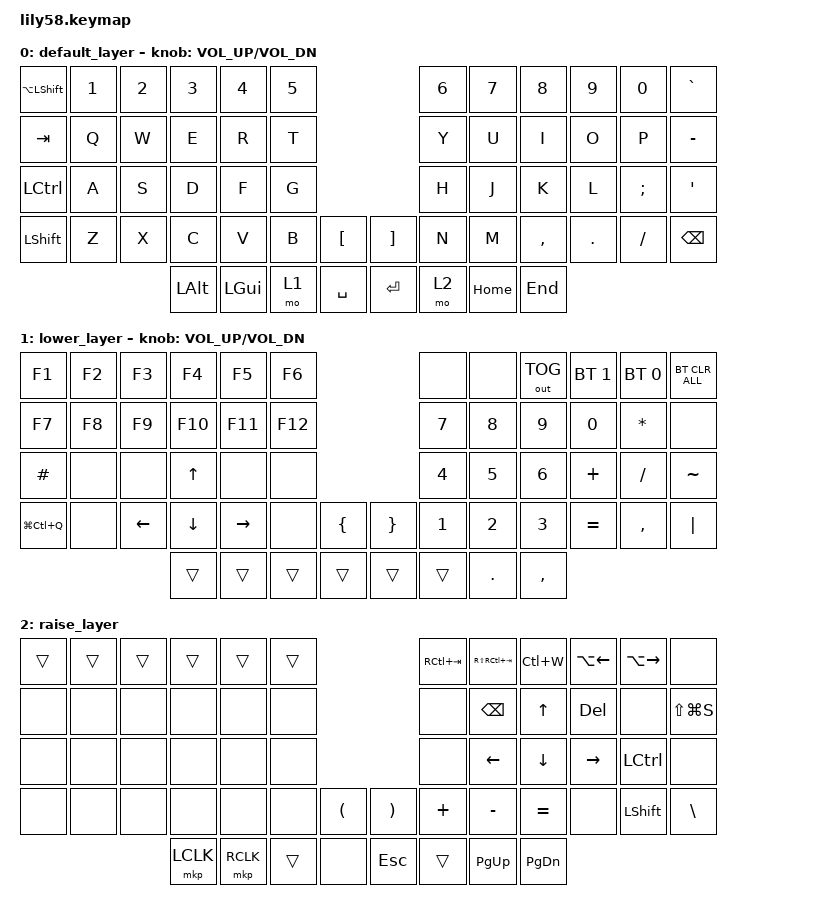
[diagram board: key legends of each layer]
/*
 * Copyright (c) 2020 The ZMK Contributors
 *
 * SPDX-License-Identifier: MIT
 */

#include <dt-bindings/zmk/mouse.h>
#include <behaviors.dtsi>
#include <dt-bindings/zmk/bt.h>
#include <dt-bindings/zmk/keys.h>
#include <dt-bindings/zmk/outputs.h>
#include <dt-bindings/zmk/pointing.h>

/ {
    combos { compatible = "zmk,combos"; };

    behaviors {
        ss_hs_modmorph: ss_hs_modmorph {
            compatible = "zmk,behavior-mod-morph";
            label = "SS_HS_MODMORPH";
            bindings = <&kp M>, <&kp RIGHT_BRACKET>;

            #binding-cells = <0>;
            mods = <(MOD_LSFT|MOD_RSFT)>;
        };

        kh_hs_tapdance: kh_hs_tapdance {
            compatible = "zmk,behavior-tap-dance";
            label = "KH_HS_TAPDANCE";
            #binding-cells = <0>;
            tapping-term-ms = <200>;
            bindings = <&kp LEFT_BRACKET>, <&kp RIGHT_BRACKET>;
        };

        hrm: hrm {
            compatible = "zmk,behavior-hold-tap";
            #binding-cells = <2>;
            flavor = "tap-preferred";
            tapping-term-ms = <200>;
            quick-tap-ms = <200>;
            require-prior-idle-ms = <125>;
            bindings = <&kp>, <&kp>;
        };
    };

    keymap {
        compatible = "zmk,keymap";

        default_layer {
            // ------------------------------------------------------------------------------------------------------------
            // |  ESC  |  1  |  2  |  3   |  4   |  5   |                   |  6   |  7    |  8    |  9   |   0   |   `   |
            // |  TAB  |  Q  |  W  |  E   |  R   |  T   |                   |  Y   |  U    |  I    |  O   |   P   |   -   |
            // |  CTRL |  A  |  S  |  D   |  F   |  G   |                   |  H   |  J    |  K    |  L   |   ;   |   '   |
            // | SHIFT |  Z  |  X  |  C   |  V   |  B   |   "["  |  |  "]"  |  N   |  M    |  ,    |  .   |   /   | SHIFT |
            //                     | ALT  | GUI  | LOWER|  SPACE |  | ENTER | RAISE| BSPC  | GUI   |

            bindings = <
&kp LA(LEFT_SHIFT)  &kp N1  &kp N2  &kp N3    &kp N4    &kp N5                         &kp N6  &kp N7    &kp N8     &kp N9   &kp N0    &kp GRAVE
&kp TAB             &kp Q   &kp W   &kp E     &kp R     &kp T                          &kp Y   &kp U     &kp I      &kp O    &kp P     &kp MINUS
&kp LCTRL           &kp A   &kp S   &kp D     &kp F     &kp G                          &kp H   &kp J     &kp K      &kp L    &kp SEMI  &kp SQT
&kp LEFT_SHIFT      &kp Z   &kp X   &kp C     &kp V     &kp B   &kp LBKT     &kp RBKT  &kp N   &kp M     &kp COMMA  &kp DOT  &kp FSLH  &kp BACKSPACE
                                    &kp LALT  &kp LGUI  &mo 1   &kp SPACE    &kp RET   &mo 2   &kp HOME  &kp END
            >;

            sensor-bindings = <&inc_dec_kp C_VOL_UP C_VOL_DN>;
        };

        lower_layer {
            // ------------------------------------------------------------------------------------------------------------
            // | BTCLR | BT1 | BT2 |  BT3 |  BT4 |  BT5 |                   |      |       |       |      |       |       |
            // |  F1   |  F2 |  F3 |  F4  |  F5  |  F6  |                   |  F7  |  F8   |  F9   |  F10 |  F11  |  F12  |
            // |   `   |  !  |  @  |  #   |  $   |  %   |                   |  ^   |  &    |  *    |  (   |   )   |   ~   |
            // |       |     |     |      |      |      |        |  |       |      |  _    |  +    |  {   |   }   |  "|"  |
            //                     |      |      |      |        |  |       |      |       |       |

            bindings = <
&kp F1         &kp F2  &kp F3          &kp F4          &kp F5           &kp F6                                      &none         &none         &out OUT_TOG  &bt BT_SEL 1  &bt BT_SEL 0  &bt BT_CLR_ALL
&kp F7         &kp F8  &kp F9          &kp F10         &kp F11          &kp F12                                     &kp N7        &kp N8        &kp N9        &kp N0        &kp ASTERISK  &none
&kp HASH       &none   &none           &kp UP_ARROW    &none            &none                                       &kp NUMBER_4  &kp N5        &kp NUMBER_6  &kp PLUS      &kp SLASH     &kp TILDE
&kp LG(LC(Q))  &none   &kp LEFT_ARROW  &kp DOWN_ARROW  &kp RIGHT_ARROW  &none    &kp LEFT_BRACE    &kp RIGHT_BRACE  &kp NUMBER_1  &kp NUMBER_2  &kp NUMBER_3  &kp EQUAL     &kp COMMA     &kp PIPE
                                       &trans          &trans           &trans   &trans            &trans           &trans        &kp DOT       &kp COMMA
            >;

            sensor-bindings = <&inc_dec_kp C_VOL_UP C_VOL_DN>;
        };

        raise_layer {
            // ------------------------------------------------------------------------------------------------------------
            // |       |     |     |      |      |      |                   |      |       |       |      |       |       |
            // |   `   |  1  |  2  |  3   |  4   |  5   |                   |  6   |   7   |   8   |  9   |   0   |       |
            // |   F1  |  F2 |  F3 |  F4  |  F5  |  F6  |                   |      |   <-  |   v   |  ^   |  ->   |       |
            // |   F7  |  F8 |  F9 |  F10 |  F11 |  F12 |        |  |       |  +   |   -   |   =   |  [   |   ]   |   \   |
            //                     |      |      |      |        |  |       |      |       |       |

            bindings = <
&trans  &trans  &trans  &trans     &trans     &trans                                                 &kp RC(TAB)  &kp RS(RC(TAB))  &kp LC(W)     &kp LA(LEFT_ARROW)  &kp LA(RIGHT)   &none
&none   &none   &none   &none      &none      &none                                                  &none        &kp BACKSPACE    &kp UP_ARROW  &kp DELETE          &none           &kp LS(LG(S))
&none   &none   &none   &none      &none      &none                                                  &none        &kp LEFT         &kp DOWN      &kp RIGHT_ARROW     &kp LCTRL       &none
&none   &none   &none   &none      &none      &none   &kp LEFT_PARENTHESIS    &kp RIGHT_PARENTHESIS  &kp PLUS     &kp MINUS        &kp EQUAL     &none               &kp LEFT_SHIFT  &kp BSLH
                        &mkp LCLK  &mkp RCLK  &trans  &none                   &kp ESCAPE             &trans       &kp PG_UP        &kp PG_DN
            >;
        };
    };
};
